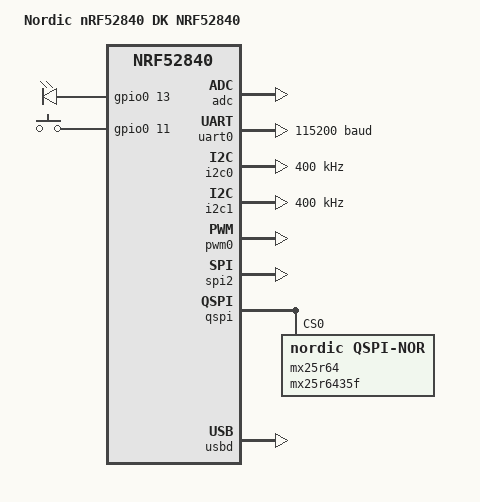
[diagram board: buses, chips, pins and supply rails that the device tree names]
/*
 * Copyright (c) 2017 Linaro Limited
 *
 * SPDX-License-Identifier: Apache-2.0
 */

/dts-v1/;
#include <nordic/nrf52840_qiaa.dtsi>
#include "nrf52840dk_nrf52840-pinctrl.dtsi"
#include <zephyr/dt-bindings/input/input-event-codes.h>

/ {
	model = "Nordic nRF52840 DK NRF52840";
	compatible = "nordic,nrf52840-dk-nrf52840";

	chosen {
		zephyr,console = &uart0;
		zephyr,shell-uart = &uart0;
		zephyr,uart-mcumgr = &uart0;
		zephyr,bt-mon-uart = &uart0;
		zephyr,bt-c2h-uart = &uart0;
		zephyr,sram = &sram0;
		zephyr,flash = &flash0;
		zephyr,code-partition = &slot0_partition;
		zephyr,ieee802154 = &ieee802154;
	};

	misc_pin{
		compatible = "gpio-leds";
		
		user_led: user_led {
			gpios =  <&gpio0 13 GPIO_ACTIVE_HIGH>;
			label = "";
		};
	};

	buttons {
		compatible = "gpio-keys";
		user_button: user_button {
			gpios = <&gpio0 11 (GPIO_PULL_UP | GPIO_ACTIVE_HIGH)>;
			label = "";
		};
	};

	/* These aliases are provided for compatibility with samples */
	aliases {
		user-button = &user_button;
		user-led    = &user_led;
	};
};

&adc {
	status = "okay";
};

&uicr {
	gpio-as-nreset;
};

&gpiote {
	status = "okay";
};

&gpio0 {
	status = "okay";
};

&gpio1 {
	status = "okay";
};

&uart0 {
	compatible = "nordic,nrf-uarte";
	status = "okay";
	current-speed = <115200>;
	pinctrl-0 = <&uart0_default>;
	pinctrl-1 = <&uart0_sleep>;
	pinctrl-names = "default", "sleep";
};

&i2c0 {
	compatible = "nordic,nrf-twim";
	status = "okay";
	pinctrl-0 = <&i2c0_default>;
	pinctrl-1 = <&i2c0_sleep>;	
	pinctrl-names = "default", "sleep";
	clock-frequency = <I2C_BITRATE_FAST>;
	zephyr,concat-buf-size = <1024>;
};

&i2c1 {
	compatible = "nordic,nrf-twim";
	status = "okay";
	pinctrl-0 = <&i2c1_default>;
	pinctrl-1 = <&i2c1_sleep>;	
	pinctrl-names = "default", "sleep";
	clock-frequency = <I2C_BITRATE_FAST>;
	zephyr,concat-buf-size = <1024>;
};

&pwm0 {
	status = "okay";
	pinctrl-0 = <&pwm0_default>;
	pinctrl-1 = <&pwm0_sleep>;
	pinctrl-names = "default", "sleep";
};

&spi2 {
	compatible = "nordic,nrf-spi";
	status = "okay";
	pinctrl-0 = <&spi2_default>;
	pinctrl-1 = <&spi2_sleep>;
	pinctrl-names = "default", "sleep";
};

&qspi {
	status = "okay";
	pinctrl-0 = <&qspi_default>;
	pinctrl-1 = <&qspi_sleep>;
	pinctrl-names = "default", "sleep";
	mx25r64: mx25r6435f@0 {
		compatible = "nordic,qspi-nor";
		reg = <0>;
		/* MX25R64 supports only pp and pp4io */
		writeoc = "pp4io";
		/* MX25R64 supports all readoc options */
		readoc = "read4io";
		sck-frequency = <8000000>;
		jedec-id = [c2 28 17];
		sfdp-bfp = [
			e5 20 f1 ff  ff ff ff 03  44 eb 08 6b  08 3b 04 bb
			ee ff ff ff  ff ff 00 ff  ff ff 00 ff  0c 20 0f 52
			10 d8 00 ff  23 72 f5 00  82 ed 04 cc  44 83 68 44
			30 b0 30 b0  f7 c4 d5 5c  00 be 29 ff  f0 d0 ff ff
		];
		size = <67108864>;
		has-dpd;
		t-enter-dpd = <10000>;
		t-exit-dpd = <35000>;
	};
};

&flash0 {

	partitions {
		compatible = "fixed-partitions";
		#address-cells = <1>;
		#size-cells = <1>;

		boot_partition: partition@0 {
			label = "mcuboot";
			reg = <0x00000000 0x0000C000>;
		};
		slot0_partition: partition@c000 {
			label = "image-0";
			reg = <0x0000C000 0x00067000>;
		};
		slot1_partition: partition@73000 {
			label = "image-1";
			reg = <0x00073000 0x00067000>;
		};
		scratch_partition: partition@da000 {
			label = "image-scratch";
			reg = <0x000da000 0x0001e000>;
		};

		/*
		 * The flash starting at 0x000f8000 and ending at
		 * 0x000fffff is reserved for use by the application.
		 */

		/*
		 * Storage partition will be used by FCB/LittleFS/NVS
		 * if enabled.
		 */
		storage_partition: partition@f8000 {
			label = "storage";
			reg = <0x000f8000 0x00008000>;
		};
	};
};

zephyr_udc0: &usbd {
	compatible = "nordic,nrf-usbd";
	status = "okay";
};

